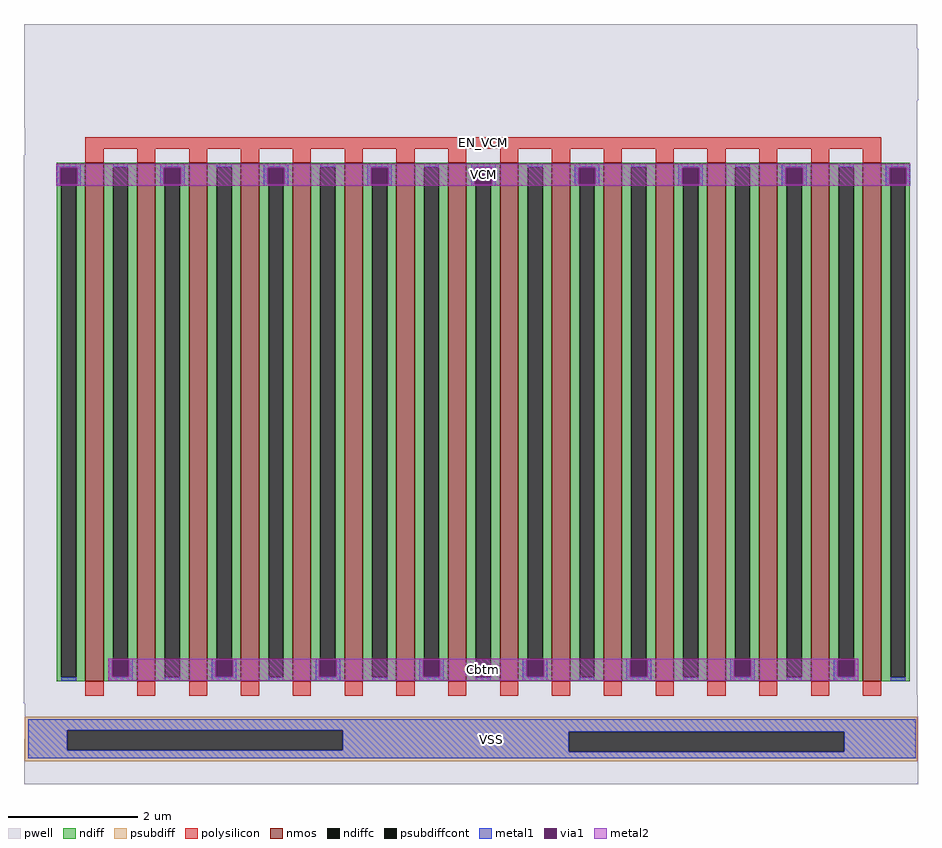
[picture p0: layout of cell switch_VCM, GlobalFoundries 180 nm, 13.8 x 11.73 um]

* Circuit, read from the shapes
.subckt switch_VCM VCM EN_VCM Cbtm VSS
XM1 Cbtm EN_VCM VCM VSS nfet_03v3 w=8u l=0.28u m=16
.ends

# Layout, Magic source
magic
tech gf180mcuD
magscale 1 10
<< pwell >>
rect 399 2518 3156 2595
rect 399 2360 3158 2518
rect 399 2274 3156 2360
rect 400 2190 3156 2274
rect 398 523 3156 2190
rect 398 498 3157 523
rect 400 458 3157 498
rect 400 388 3158 458
rect 399 249 3158 388
<< psubdiff >>
rect 401 415 3156 456
rect 401 353 531 415
rect 1382 410 3156 415
rect 1382 353 2079 410
rect 401 348 2079 353
rect 2930 348 3156 410
rect 401 319 3156 348
<< psubdiffcont >>
rect 531 353 1382 415
rect 2079 348 2930 410
<< polysilicon >>
rect 588 2210 3044 2246
<< metal1 >>
rect 498 2152 574 2164
rect 498 2100 510 2152
rect 562 2100 574 2152
rect 498 2096 574 2100
rect 818 2152 894 2164
rect 818 2100 830 2152
rect 882 2100 894 2152
rect 818 2096 894 2100
rect 1138 2152 1214 2164
rect 1138 2100 1150 2152
rect 1202 2100 1214 2152
rect 1138 2096 1214 2100
rect 1458 2152 1534 2164
rect 1458 2100 1470 2152
rect 1522 2100 1534 2152
rect 1458 2096 1534 2100
rect 1778 2152 1854 2164
rect 1778 2100 1790 2152
rect 1842 2100 1854 2152
rect 1778 2096 1854 2100
rect 2098 2152 2174 2164
rect 2098 2100 2110 2152
rect 2162 2100 2174 2152
rect 2098 2096 2174 2100
rect 2418 2152 2494 2164
rect 2418 2100 2430 2152
rect 2482 2100 2494 2152
rect 2418 2096 2494 2100
rect 2738 2152 2814 2164
rect 2738 2100 2750 2152
rect 2802 2100 2814 2152
rect 2738 2096 2814 2100
rect 3058 2152 3134 2164
rect 3058 2100 3070 2152
rect 3122 2100 3134 2152
rect 3058 2096 3134 2100
rect 658 632 734 636
rect 658 580 670 632
rect 722 580 734 632
rect 658 568 734 580
rect 978 632 1054 636
rect 978 580 990 632
rect 1042 580 1054 632
rect 978 568 1054 580
rect 1298 632 1374 636
rect 1298 580 1310 632
rect 1362 580 1374 632
rect 1298 568 1374 580
rect 1618 632 1694 636
rect 1618 580 1630 632
rect 1682 580 1694 632
rect 1618 568 1694 580
rect 1938 632 2014 636
rect 1938 580 1950 632
rect 2002 580 2014 632
rect 1938 568 2014 580
rect 2258 632 2334 636
rect 2258 580 2270 632
rect 2322 580 2334 632
rect 2258 568 2334 580
rect 2578 632 2654 636
rect 2578 580 2590 632
rect 2642 580 2654 632
rect 2578 568 2654 580
rect 2898 632 2974 636
rect 2898 580 2910 632
rect 2962 580 2974 632
rect 2898 568 2974 580
rect 411 415 3151 449
rect 411 353 531 415
rect 1382 410 3151 415
rect 1382 353 2079 410
rect 411 348 2079 353
rect 2930 348 3151 410
rect 411 328 3151 348
<< via1 >>
rect 510 2100 562 2152
rect 830 2100 882 2152
rect 1150 2100 1202 2152
rect 1470 2100 1522 2152
rect 1790 2100 1842 2152
rect 2110 2100 2162 2152
rect 2430 2100 2482 2152
rect 2750 2100 2802 2152
rect 3070 2100 3122 2152
rect 670 580 722 632
rect 990 580 1042 632
rect 1310 580 1362 632
rect 1630 580 1682 632
rect 1950 580 2002 632
rect 2270 580 2322 632
rect 2590 580 2642 632
rect 2910 580 2962 632
<< metal2 >>
rect 498 2152 3134 2164
rect 498 2100 510 2152
rect 562 2100 830 2152
rect 882 2100 1150 2152
rect 1202 2100 1470 2152
rect 1522 2100 1790 2152
rect 1842 2100 2110 2152
rect 2162 2100 2430 2152
rect 2482 2100 2750 2152
rect 2802 2100 3070 2152
rect 3122 2100 3134 2152
rect 498 2096 3134 2100
rect 658 632 2974 636
rect 658 580 670 632
rect 722 580 990 632
rect 1042 580 1310 632
rect 1362 580 1630 632
rect 1682 580 1950 632
rect 2002 580 2270 632
rect 2322 580 2590 632
rect 2642 580 2910 632
rect 2962 580 2974 632
rect 658 568 2974 580
use nfet_03v3_NRY3LQ  nfet_03v3_NRY3LQ_0
transform 1 0 1896 0 1 1366
box -140 -868 140 868
use nfet_03v3_NRY3LQ  nfet_03v3_NRY3LQ_1
transform 1 0 2056 0 1 1366
box -140 -868 140 868
use nfet_03v3_NRY3LQ  nfet_03v3_NRY3LQ_2
transform 1 0 2216 0 1 1366
box -140 -868 140 868
use nfet_03v3_NRY3LQ  nfet_03v3_NRY3LQ_3
transform 1 0 2376 0 1 1366
box -140 -868 140 868
use nfet_03v3_NRY3LQ  nfet_03v3_NRY3LQ_4
transform 1 0 2536 0 1 1366
box -140 -868 140 868
use nfet_03v3_NRY3LQ  nfet_03v3_NRY3LQ_5
transform 1 0 1096 0 1 1366
box -140 -868 140 868
use nfet_03v3_NRY3LQ  nfet_03v3_NRY3LQ_6
transform 1 0 2856 0 1 1366
box -140 -868 140 868
use nfet_03v3_NRY3LQ  nfet_03v3_NRY3LQ_7
transform 1 0 2696 0 1 1366
box -140 -868 140 868
use nfet_03v3_NRY3LQ  nfet_03v3_NRY3LQ_8
transform 1 0 1256 0 1 1366
box -140 -868 140 868
use nfet_03v3_NRY3LQ  nfet_03v3_NRY3LQ_9
transform 1 0 1416 0 1 1366
box -140 -868 140 868
use nfet_03v3_NRY3LQ  nfet_03v3_NRY3LQ_10
transform 1 0 1576 0 1 1366
box -140 -868 140 868
use nfet_03v3_NRY3LQ  nfet_03v3_NRY3LQ_11
transform 1 0 1736 0 1 1366
box -140 -868 140 868
use nfet_03v3_NRY3LQ  nfet_03v3_NRY3LQ_12
transform 1 0 936 0 1 1366
box -140 -868 140 868
use nfet_03v3_NRY3LQ  nfet_03v3_NRY3LQ_13
transform 1 0 776 0 1 1366
box -140 -868 140 868
use nfet_03v3_NRY3LQ  nfet_03v3_NRY3LQ_14
transform 1 0 616 0 1 1366
box -140 -868 140 868
use nfet_03v3_NRY3LQ  nfet_03v3_NRY3LQ_15
transform 1 0 3016 0 1 1366
box -140 -868 140 868
<< labels >>
flabel metal2 658 568 2974 636 1 FreeSans 800 0 0 0 Cbtm
port 3 n
flabel polysilicon 588 2210 3044 2246 1 FreeSans 800 0 0 0 EN_VCM
port 2 n
flabel metal1 1290 329 2391 445 0 FreeSans 480 0 0 0 VSS
port 4 nsew
flabel metal2 498 2096 3134 2164 1 FreeSans 800 0 0 0 VCM
port 1 n
<< end >>

# cell nfet_03v3_NRY3LQ: kit device nfet_03v3, w 8 l 0.28 m 1 nf 1 diffcov 100 polycov 100 guard 0 glc 0 grc 0 gtc 0 gbc 0 tbcov 100 rlcov 100 topc 0 botc 0 poverlap 0 doverlap 0 lmin 0.28 wmin 0.22 class mosfet full_metal 0 compatible {nfet_03v3 nfet_06v0 nfet_06v0_nvt}
